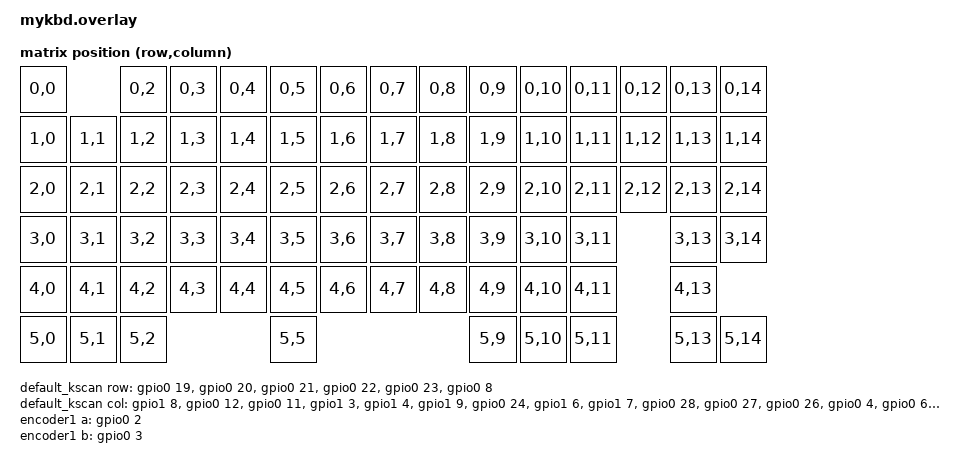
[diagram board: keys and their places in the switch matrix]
#include <dt-bindings/zmk/matrix_transform.h>

/ {
    chosen {
        zmk,kscan = &default_kscan;
        zmk,matrix_transform = &default_transform;
        zmk,backlight = &backlight;
    };

    // *****
    // KEY SCAN
    // *****
    default_kscan: kscan {
        compatible = "zmk,kscan-gpio-matrix";
        label = "default_kscan";
        diode-direction = "col2row";

        row-gpios = <&gpio0 19 (GPIO_ACTIVE_HIGH | GPIO_PULL_DOWN)>,
                    <&gpio0 20 (GPIO_ACTIVE_HIGH | GPIO_PULL_DOWN)>,
                    <&gpio0 21 (GPIO_ACTIVE_HIGH | GPIO_PULL_DOWN)>,
                    <&gpio0 22 (GPIO_ACTIVE_HIGH | GPIO_PULL_DOWN)>,
                    <&gpio0 23 (GPIO_ACTIVE_HIGH | GPIO_PULL_DOWN)>,
                    <&gpio0 8 (GPIO_ACTIVE_HIGH | GPIO_PULL_DOWN)>;

        col-gpios = <&gpio1 8 GPIO_ACTIVE_HIGH>,
                    <&gpio0 12 GPIO_ACTIVE_HIGH>,
                    <&gpio0 11 GPIO_ACTIVE_HIGH>,
                    <&gpio1 3 GPIO_ACTIVE_HIGH>,
                    <&gpio1 4 GPIO_ACTIVE_HIGH>,
                    <&gpio1 9 GPIO_ACTIVE_HIGH>,
                    <&gpio0 24 GPIO_ACTIVE_HIGH>,
                    <&gpio1 6 GPIO_ACTIVE_HIGH>,
                    <&gpio1 7 GPIO_ACTIVE_HIGH>,
                    <&gpio0 28 GPIO_ACTIVE_HIGH>,
                    <&gpio0 27 GPIO_ACTIVE_HIGH>,
                    <&gpio0 26 GPIO_ACTIVE_HIGH>,
                    <&gpio0 4 GPIO_ACTIVE_HIGH>,
                    <&gpio0 6 GPIO_ACTIVE_HIGH>,
                    <&gpio0 7 GPIO_ACTIVE_HIGH>;
    };

    default_transform: matrix_transform {
        compatible = "zmk,matrix-transform";
        columns = <15>;
        rows = <6>;

        map = <
            RC(0,0)         RC(0,2) RC(0,3) RC(0,4) RC(0,5) RC(0,6) RC(0,7) RC(0,8) RC(0,9) RC(0,10) RC(0,11) RC(0,12) RC(0,13) RC(0,14)
            RC(1,0) RC(1,1) RC(1,2) RC(1,3) RC(1,4) RC(1,5) RC(1,6) RC(1,7) RC(1,8) RC(1,9) RC(1,10) RC(1,11) RC(1,12) RC(1,13) RC(1,14)
            RC(2,0) RC(2,1) RC(2,2) RC(2,3) RC(2,4) RC(2,5) RC(2,6) RC(2,7) RC(2,8) RC(2,9) RC(2,10) RC(2,11) RC(2,12) RC(2,13) RC(2,14)
            RC(3,0) RC(3,1) RC(3,2) RC(3,3) RC(3,4) RC(3,5) RC(3,6) RC(3,7) RC(3,8) RC(3,9) RC(3,10) RC(3,11)          RC(3,13) RC(3,14)
            RC(4,0) RC(4,1) RC(4,2) RC(4,3) RC(4,4) RC(4,5) RC(4,6) RC(4,7) RC(4,8) RC(4,9) RC(4,10) RC(4,11)          RC(4,13)
            RC(5,0) RC(5,1) RC(5,2)                 RC(5,5)                         RC(5,9) RC(5,10) RC(5,11)          RC(5,13) RC(5,14)
        >;
    };

    // *****
    // BACKLIGHT
    // *****
    backlight: pwmleds {
        compatible = "pwm-leds";

        // backlight
        pwm_led_0 {
            pwms = <&pwm0 0 PWM_MSEC(5) PWM_POLARITY_NORMAL>;
        };

    };

    // *****
    // CAPS LOCK LED
    // *****
     aliases {
        led-caps = &led_0;
    };

    leds {
        compatible = "gpio-leds";
        status = "okay";
        led_0: led_0 {
            gpios = <&gpio0 30 GPIO_ACTIVE_HIGH>;
        };
    };

    // *****
    // SOFT OFF
    // *****
    keys {
        compatible = "gpio-keys";
        soft_off_gpio_key: soft_off_gpio_key {
            gpios = <&gpio0 14 (GPIO_ACTIVE_LOW | GPIO_PULL_UP)>;
        };
    };

    wakeup_scan: wakeup_scan {
        compatible = "zmk,kscan-gpio-direct";
        input-keys = <&soft_off_gpio_key>;
        wakeup-source;
    };

    side_band_behavior_triggers: side_band_behavior_triggers {
        compatible = "zmk,kscan-sideband-behaviors";

        kscan = <&wakeup_scan>;
        auto-enable;
        wakeup-source;

        soft_off {
            column = <0>;
            row = <0>;
            bindings = <&hw_soft_off>;
        };
    };

    soft_off_wakers {
        compatible = "zmk,soft-off-wakeup-sources";
        wakeup-sources = <&wakeup_scan>;
    };

    // *****
    // ENCODER
    // *****
    encoder1: encoder1 {
        compatible = "alps,ec11";
        a-gpios = <&gpio0 2 GPIO_ACTIVE_HIGH>;
        b-gpios = <&gpio0 3 GPIO_ACTIVE_HIGH>;
        steps = <18>;
        status = "disabled";
    };

    sensors: sensors {
        compatible = "zmk,keymap-sensors";
        sensors = <&encoder1>;
        triggers-per-rotation = <9>;
    };

};

&pinctrl {
    pwm0_default: pwm0_default {
        group1 {
            psels = <NRF_PSEL(PWM_OUT0, 1, 5)>; // backlight LED
        };
    };

    pwm0_sleep: pwm0_sleep {
        group1 {
            psels = <NRF_PSEL(PWM_OUT0, 1, 5)>; // backlight LED
            low-power-enable;
        };
    };
};

&pwm0 {
    status = "okay";
    pinctrl-0 = <&pwm0_default>;
    pinctrl-1 = <&pwm0_sleep>;
    pinctrl-names = "default", "sleep";
};

&encoder1 {
    status = "okay";
};
